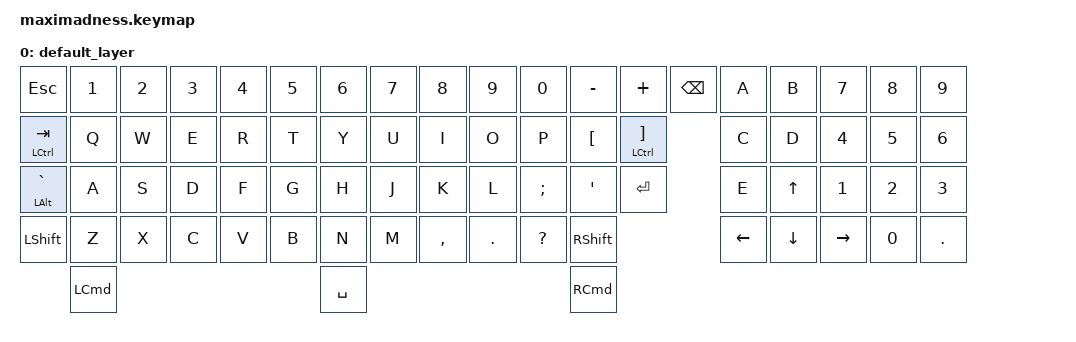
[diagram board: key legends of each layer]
/*
 * Copyright (c) 2022 The ZMK Contributors
 *
 * SPDX-License-Identifier: MIT
 */

#include <behaviors.dtsi>
#include <dt-bindings/zmk/keys.h>
#include <dt-bindings/zmk/bt.h>


/ {
    keymap {
        compatible = "zmk,keymap";

        default_layer {
            bindings = <
                &kp ESC         &kp N1  &kp N2  &kp N3  &kp N4  &kp N5  &kp N6  &kp N7 &kp N8       &kp N9  &kp N0      &kp MINUS   &kp PLUS        &kp BSPC    &kp A       &kp B       &kp N7      &kp N8   &kp N9
                &mt LCTRL TAB   &kp Q   &kp W   &kp E   &kp R   &kp T   &kp Y   &kp U  &kp I        &kp O   &kp P       &kp LBKT    &mt LCTRL RBKT              &kp C       &kp D       &kp N4      &kp N5   &kp N6
                &mt LALT GRAVE  &kp A   &kp S   &kp D   &kp F   &kp G   &kp H   &kp J  &kp K        &kp L   &kp SEMI    &kp APOS    &kp RET                     &kp E       &kp UP      &kp N1      &kp N2   &kp N3
                &kp LSHFT       &kp Z   &kp X   &kp C   &kp V   &kp B   &kp N   &kp M   &kp COMMA   &kp DOT &kp QMARK   &kp RSHFT                               &kp LEFT    &kp DOWN    &kp RIGHT   &kp N0   &kp DOT
                                &kp LCMD                                &kp SPACE                                       &kp RCMD
            >;
        };
    };
};
